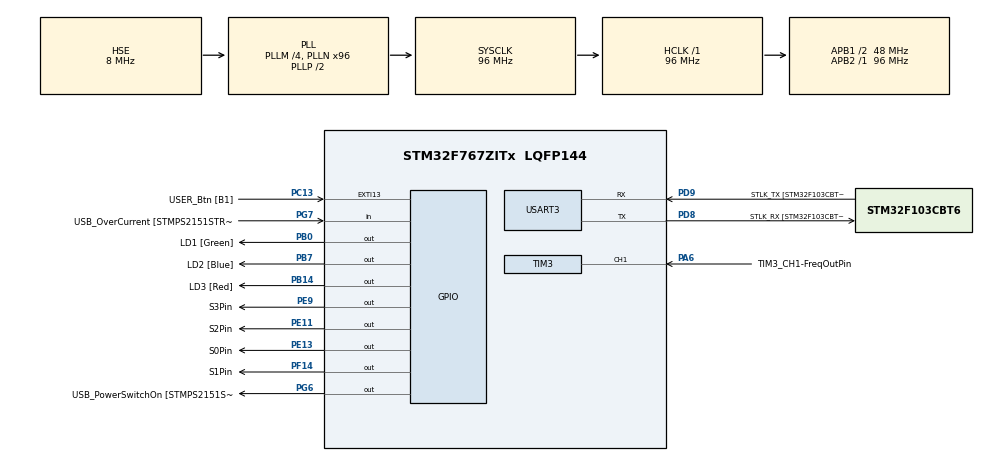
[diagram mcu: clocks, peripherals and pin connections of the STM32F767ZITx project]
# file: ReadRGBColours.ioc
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Mcu.Family=STM32F7
Mcu.Name=STM32F767ZITx
Mcu.Package=LQFP144
NVIC.PriorityGroup=NVIC_PRIORITYGROUP_4
NVIC.TIM3_IRQn=true\:0\:0\:false\:false\:true\:true\:true
PA1.GPIO_Label=RMII_REF_CLK [LAN8742A-CZ-TR_REFCLK0]
PA1.Signal=ETH_REF_CLK
PA10.GPIO_Label=USB_ID
PA10.Signal=USB_OTG_FS_ID
PA11.GPIO_Label=USB_DM
PA11.Signal=USB_OTG_FS_DM
PA12.GPIO_Label=USB_DP
PA12.Signal=USB_OTG_FS_DP
PA13.GPIO_Label=TMS
PA13.Mode=Serial_Wire
PA13.Signal=SYS_JTMS-SWDIO
PA14.GPIO_Label=TCK
PA14.Mode=Serial_Wire
PA14.Signal=SYS_JTCK-SWCLK
PA2.GPIO_Label=RMII_MDIO [LAN8742A-CZ-TR_MDIO]
PA2.Signal=ETH_MDIO
PA6.GPIO_Label=TIM3_CH1-FreqOutPin
PA6.Signal=S_TIM3_CH1
PA7.GPIO_Label=RMII_CRS_DV [LAN8742A-CZ-TR_CRS_DV]
PA7.Signal=ETH_CRS_DV
PA8.GPIO_Label=USB_SOF [TP1]
PA8.Signal=USB_OTG_FS_SOF
PA9.GPIO_Label=USB_VBUS
PA9.Signal=USB_OTG_FS_VBUS
PB0.GPIO_Label=LD1 [Green]
PB0.Signal=GPIO_Output
PB13.GPIO_Label=RMII_TXD1 [LAN8742A-CZ-TR_TXD1]
PB13.Signal=ETH_TXD1
PB14.GPIO_Label=LD3 [Red]
PB14.Signal=GPIO_Output
PB3.GPIO_Label=SWO
PB3.Signal=SYS_JTDO-SWO
PB7.GPIO_Label=LD2 [Blue]
PB7.Signal=GPIO_Output
PC1.GPIO_Label=RMII_MDC [LAN8742A-CZ-TR_MDC]
PC1.Signal=ETH_MDC
PC13.GPIO_Label=USER_Btn [B1]
PC13.Signal=GPXTI13
PC14/OSC32_IN.Mode=LSE-External-Oscillator
PC14/OSC32_IN.Signal=RCC_OSC32_IN
PC15/OSC32_OUT.Mode=LSE-External-Oscillator
PC15/OSC32_OUT.Signal=RCC_OSC32_OUT
PC4.GPIO_Label=RMII_RXD0 [LAN8742A-CZ-TR_RXD0]
PC4.Signal=ETH_RXD0
PC5.GPIO_Label=RMII_RXD1 [LAN8742A-CZ-TR_RXD1]
PC5.Signal=ETH_RXD1
PD8.GPIO_Label=STLK_RX [STM32F103CBT6_PA3]
PD8.Mode=Asynchronous
PD8.Signal=USART3_TX
PD9.GPIO_Label=STLK_TX [STM32F103CBT6_PA2]
PD9.Mode=Asynchronous
PD9.Signal=USART3_RX
PE11.GPIO_Label=S2Pin
PE11.Signal=GPIO_Output
PE13.GPIO_Label=S0Pin
PE13.Signal=GPIO_Output
PE9.GPIO_Label=S3Pin
PE9.Signal=GPIO_Output
PF14.GPIO_Label=S1Pin
PF14.Signal=GPIO_Output
PG11.GPIO_Label=RMII_TX_EN [LAN8742A-CZ-TR_TXEN]
PG11.Signal=ETH_TX_EN
PG13.GPIO_Label=RMII_TXD0 [LAN8742A-CZ-TR_TXD0]
PG13.Signal=ETH_TXD0
PG6.GPIO_Label=USB_PowerSwitchOn [STMPS2151STR_EN]
PG6.Signal=GPIO_Output
PG7.GPIO_Label=USB_OverCurrent [STMPS2151STR_FAULT]
PG7.Signal=GPIO_Input
PH0/OSC_IN.GPIO_Label=MCO [STM32F103CBT6_PA8]
PH0/OSC_IN.Mode=HSE-External-Clock-Source
PH0/OSC_IN.Signal=RCC_OSC_IN
PH1/OSC_OUT.Mode=HSE-External-Clock-Source
PH1/OSC_OUT.Signal=RCC_OSC_OUT
ProjectManager.HeapSize=0x200
ProjectManager.StackSize=0x400
ProjectManager.TargetToolchain=STM32CubeIDE
RCC.48MHZClocksFreq_Value=24000000
RCC.AHBFreq_Value=96000000
RCC.APB1CLKDivider=RCC_HCLK_DIV2
RCC.APB1Freq_Value=48000000
RCC.APB1TimFreq_Value=96000000
RCC.APB2Freq_Value=96000000
RCC.APB2TimFreq_Value=96000000
RCC.CortexFreq_Value=96000000
RCC.HCLKFreq_Value=96000000
RCC.HSE_VALUE=8000000
RCC.HSI_VALUE=16000000
RCC.PLLM=4
RCC.PLLMUL=RCC_PLL_MUL9
RCC.PLLN=96
RCC.PLLQ=4
RCC.PLLSourceVirtual=RCC_PLLSOURCE_HSE
RCC.PRESCALERUSB=RCC_USBCLKSOURCE_PLL_DIV1_5
RCC.SYSCLKFreq_VALUE=96000000
RCC.SYSCLKSource=RCC_SYSCLKSOURCE_PLLCLK
RCC.SYSCLKSourceVirtual=RCC_SYSCLKSOURCE_PLLCLK
RCC.USBFreq_Value=48000000
RCC.VCOOutputFreq_Value=192000000
SH.S_TIM3_CH1.0=TIM3_CH1,Input_Capture1_from_TI1
TIM3.Channel-Input_Capture1_from_TI1=TIM_CHANNEL_1
TIM3.ICPolarity_CH1=TIM_INPUTCHANNELPOLARITY_BOTHEDGE
TIM3.Prescaler=48-1
USART3.VirtualMode-Asynchronous=VM_ASYNC
board=NUCLEO-F767ZI

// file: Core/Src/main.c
/* USER CODE BEGIN Header */
/**
  ******************************************************************************
  * @file           : main.c
  * @brief          : Main program body
  ******************************************************************************
  * @attention
  *
  * <h2><center>&copy; Copyright (c) 2021 STMicroelectronics.
  * All rights reserved.</center></h2>
  *
  * This software component is licensed by ST under BSD 3-Clause license,
  * the "License"; You may not use this file except in compliance with the
  * License. You may obtain a copy of the License at:
  *                        opensource.org/licenses/BSD-3-Clause
  *
  ******************************************************************************
  */
/* USER CODE END Header */
#include "main.h"

/* USER CODE BEGIN Includes */
#include <stdio.h>
#include <string.h>
/* USER CODE END Includes */

/* USER CODE BEGIN PTD */
typedef struct {

	// Colour Pulse Width Measurements
	int redPulseWidth;
	int greenPulseWidth;
	int bluePulseWidth;

	// Variables for final Colour RGB Values
	uint8_t redValue;
	uint8_t greenValue;
	uint8_t blueValue;

	uint8_t doCalibration;

	// Function Pointers
	int (*getRedPulseWidth)(void);
	int (*getGreenPulseWidth)(void);
	int (*getBluePulseWidth)(void);
}TCS320_t;
/* USER CODE END PTD */

TIM_HandleTypeDef htim3;

UART_HandleTypeDef huart3;

/* USER CODE BEGIN PV */
// Calibration constants
static const uint16_t TCS320_RED_MIN = 55;
static const uint16_t TCS320_RED_MAX = 1400;
static const uint16_t TCS320_GREEN_MIN = 10;
static const uint16_t TCS320_GREEN_MAX = 1620;
static const uint16_t TCS320_BLUE_MIN = 10;
static const uint16_t TCS320_BLUE_MAX = 1200;

// Input-Capture variables
static uint32_t captures[2] = {0};
static volatile uint8_t captureDone = 0;
static uint8_t isRisingEdge = 1;
static uint16_t pulseWidth = 0;

// TCS320 Colour Sensor initialization
static TCS320_t colourSensor = {0};
/* USER CODE END PV */

void SystemClock_Config(void);
static void MX_GPIO_Init(void);
static void MX_USART3_UART_Init(void);
static void MX_TIM3_Init(void);
/* USER CODE BEGIN PFP */
void HAL_TIM_IC_CaptureCallback(TIM_HandleTypeDef *htim);

// Prototypes of the TCS320_t function pointers
static int getRedPulseWidth(void);
static int getGreenPulseWidth(void);
static int getBluePulseWidth(void);

// Standard mapping function
static long map(long x, long in_min, long in_max, long out_min, long out_max);

/* USER CODE END PFP */

int main(void)
{
  /* USER CODE BEGIN 1 */

  char msg[64] = {0};
  /* USER CODE END 1 */

  /* MCU Configuration--------------------------------------------------------*/

  /* Reset of all peripherals, Initializes the Flash interface and the Systick. */
  HAL_Init();

  /* Configure the system clock */
  SystemClock_Config();

  /* Initialize all configured peripherals */
  MX_GPIO_Init();
  MX_USART3_UART_Init();
  MX_TIM3_Init();
  /* USER CODE BEGIN 2 */

  sprintf(msg, "RGB Colour Sensor Demo Program\r\n");
  HAL_UART_Transmit(&huart3, (uint8_t*)msg, strlen(msg), HAL_MAX_DELAY);

  // Set Colour Sensors frequency scaling to 20%
  HAL_GPIO_WritePin(GPIOE, S0Pin_Pin, GPIO_PIN_SET);
  HAL_GPIO_WritePin(S1Pin_GPIO_Port, S1Pin_Pin, GPIO_PIN_RESET);

  // Assign function pointers to read RGB Pulse widths
  colourSensor.getRedPulseWidth = getRedPulseWidth;
  colourSensor.getGreenPulseWidth = getGreenPulseWidth;
  colourSensor.getBluePulseWidth = getBluePulseWidth;

  // Do Calibration (1 for yes, 0 for not)
  colourSensor.doCalibration = 0;

  /* USER CODE END 2 */

  /* Infinite loop */
  while (1)
  {

    /* USER CODE BEGIN 3 */

	  // Set sensor to read Red only
	  int r = colourSensor.getRedPulseWidth();
	  HAL_Delay(200);

	  // Set sensor to read Green only
	  int g = colourSensor.getGreenPulseWidth();
	  HAL_Delay(200);

	  // Set sensor to read Blue only
	  int b = colourSensor.getBluePulseWidth();

	  // Send r,g,b values over UART to PC running Classification program.
	  sprintf(msg, "%d,%d,%d\r\n", r, g, b);
	  HAL_UART_Transmit(&huart3, (uint8_t*)msg, strlen(msg), HAL_MAX_DELAY);
	  HAL_Delay(200);
  }
  /* USER CODE END 3 */
}

void SystemClock_Config(void)
{
  RCC_OscInitTypeDef RCC_OscInitStruct = {0};
  RCC_ClkInitTypeDef RCC_ClkInitStruct = {0};
  RCC_PeriphCLKInitTypeDef PeriphClkInitStruct = {0};

  /** Configure LSE Drive Capability
  */
  HAL_PWR_EnableBkUpAccess();
  /** Configure the main internal regulator output voltage
  */
  __HAL_RCC_PWR_CLK_ENABLE();
  __HAL_PWR_VOLTAGESCALING_CONFIG(PWR_REGULATOR_VOLTAGE_SCALE3);
  /** Initializes the RCC Oscillators according to the specified parameters
  * in the RCC_OscInitTypeDef structure.
  */
  RCC_OscInitStruct.OscillatorType = RCC_OSCILLATORTYPE_HSE;
  RCC_OscInitStruct.HSEState = RCC_HSE_BYPASS;
  RCC_OscInitStruct.PLL.PLLState = RCC_PLL_ON;
  RCC_OscInitStruct.PLL.PLLSource = RCC_PLLSOURCE_HSE;
  RCC_OscInitStruct.PLL.PLLM = 4;
  RCC_OscInitStruct.PLL.PLLN = 96;
  RCC_OscInitStruct.PLL.PLLP = RCC_PLLP_DIV2;
  RCC_OscInitStruct.PLL.PLLQ = 4;
  if (HAL_RCC_OscConfig(&RCC_OscInitStruct) != HAL_OK)
  {
    Error_Handler();
  }
  /** Activate the Over-Drive mode
  */
  if (HAL_PWREx_EnableOverDrive() != HAL_OK)
  {
    Error_Handler();
  }
  /** Initializes the CPU, AHB and APB buses clocks
  */
  RCC_ClkInitStruct.ClockType = RCC_CLOCKTYPE_HCLK|RCC_CLOCKTYPE_SYSCLK
                              |RCC_CLOCKTYPE_PCLK1|RCC_CLOCKTYPE_PCLK2;
  RCC_ClkInitStruct.SYSCLKSource = RCC_SYSCLKSOURCE_PLLCLK;
  RCC_ClkInitStruct.AHBCLKDivider = RCC_SYSCLK_DIV1;
  RCC_ClkInitStruct.APB1CLKDivider = RCC_HCLK_DIV2;
  RCC_ClkInitStruct.APB2CLKDivider = RCC_HCLK_DIV1;

  if (HAL_RCC_ClockConfig(&RCC_ClkInitStruct, FLASH_LATENCY_3) != HAL_OK)
  {
    Error_Handler();
  }
  PeriphClkInitStruct.PeriphClockSelection = RCC_PERIPHCLK_USART3;
  PeriphClkInitStruct.Usart3ClockSelection = RCC_USART3CLKSOURCE_PCLK1;
  if (HAL_RCCEx_PeriphCLKConfig(&PeriphClkInitStruct) != HAL_OK)
  {
    Error_Handler();
  }
}

static void MX_TIM3_Init(void)
{

  TIM_MasterConfigTypeDef sMasterConfig = {0};
  TIM_IC_InitTypeDef sConfigIC = {0};

  htim3.Instance = TIM3;
  htim3.Init.Prescaler = 48-1;
  htim3.Init.CounterMode = TIM_COUNTERMODE_UP;
  htim3.Init.Period = 65535;
  htim3.Init.ClockDivision = TIM_CLOCKDIVISION_DIV1;
  htim3.Init.AutoReloadPreload = TIM_AUTORELOAD_PRELOAD_DISABLE;
  if (HAL_TIM_IC_Init(&htim3) != HAL_OK)
  {
    Error_Handler();
  }
  sMasterConfig.MasterOutputTrigger = TIM_TRGO_RESET;
  sMasterConfig.MasterSlaveMode = TIM_MASTERSLAVEMODE_DISABLE;
  if (HAL_TIMEx_MasterConfigSynchronization(&htim3, &sMasterConfig) != HAL_OK)
  {
    Error_Handler();
  }
  sConfigIC.ICPolarity = TIM_INPUTCHANNELPOLARITY_BOTHEDGE;
  sConfigIC.ICSelection = TIM_ICSELECTION_DIRECTTI;
  sConfigIC.ICPrescaler = TIM_ICPSC_DIV1;
  sConfigIC.ICFilter = 0;
  if (HAL_TIM_IC_ConfigChannel(&htim3, &sConfigIC, TIM_CHANNEL_1) != HAL_OK)
  {
    Error_Handler();
  }

}

static void MX_USART3_UART_Init(void)
{

  huart3.Instance = USART3;
  huart3.Init.BaudRate = 115200;
  huart3.Init.WordLength = UART_WORDLENGTH_8B;
  huart3.Init.StopBits = UART_STOPBITS_1;
  huart3.Init.Parity = UART_PARITY_NONE;
  huart3.Init.Mode = UART_MODE_TX_RX;
  huart3.Init.HwFlowCtl = UART_HWCONTROL_NONE;
  huart3.Init.OverSampling = UART_OVERSAMPLING_16;
  huart3.Init.OneBitSampling = UART_ONE_BIT_SAMPLE_DISABLE;
  huart3.AdvancedInit.AdvFeatureInit = UART_ADVFEATURE_NO_INIT;
  if (HAL_UART_Init(&huart3) != HAL_OK)
  {
    Error_Handler();
  }

}

static void MX_GPIO_Init(void)
{
  GPIO_InitTypeDef GPIO_InitStruct = {0};

  /* GPIO Ports Clock Enable */
  __HAL_RCC_GPIOC_CLK_ENABLE();
  __HAL_RCC_GPIOH_CLK_ENABLE();
  __HAL_RCC_GPIOA_CLK_ENABLE();
  __HAL_RCC_GPIOB_CLK_ENABLE();
  __HAL_RCC_GPIOF_CLK_ENABLE();
  __HAL_RCC_GPIOE_CLK_ENABLE();
  __HAL_RCC_GPIOD_CLK_ENABLE();
  __HAL_RCC_GPIOG_CLK_ENABLE();

  /*Configure GPIO pin Output Level */
  HAL_GPIO_WritePin(GPIOB, LD1_Pin|LD3_Pin|LD2_Pin, GPIO_PIN_RESET);

  /*Configure GPIO pin Output Level */
  HAL_GPIO_WritePin(S1Pin_GPIO_Port, S1Pin_Pin, GPIO_PIN_RESET);

  /*Configure GPIO pin Output Level */
  HAL_GPIO_WritePin(GPIOE, S3Pin_Pin|S2Pin_Pin|S0Pin_Pin, GPIO_PIN_RESET);

  /*Configure GPIO pin Output Level */
  HAL_GPIO_WritePin(USB_PowerSwitchOn_GPIO_Port, USB_PowerSwitchOn_Pin, GPIO_PIN_RESET);

  /*Configure GPIO pin : USER_Btn_Pin */
  GPIO_InitStruct.Pin = USER_Btn_Pin;
  GPIO_InitStruct.Mode = GPIO_MODE_IT_RISING;
  GPIO_InitStruct.Pull = GPIO_NOPULL;
  HAL_GPIO_Init(USER_Btn_GPIO_Port, &GPIO_InitStruct);

  /*Configure GPIO pins : RMII_MDC_Pin RMII_RXD0_Pin RMII_RXD1_Pin */
  GPIO_InitStruct.Pin = RMII_MDC_Pin|RMII_RXD0_Pin|RMII_RXD1_Pin;
  GPIO_InitStruct.Mode = GPIO_MODE_AF_PP;
  GPIO_InitStruct.Pull = GPIO_NOPULL;
  GPIO_InitStruct.Speed = GPIO_SPEED_FREQ_VERY_HIGH;
  GPIO_InitStruct.Alternate = GPIO_AF11_ETH;
  HAL_GPIO_Init(GPIOC, &GPIO_InitStruct);

  /*Configure GPIO pins : RMII_REF_CLK_Pin RMII_MDIO_Pin RMII_CRS_DV_Pin */
  GPIO_InitStruct.Pin = RMII_REF_CLK_Pin|RMII_MDIO_Pin|RMII_CRS_DV_Pin;
  GPIO_InitStruct.Mode = GPIO_MODE_AF_PP;
  GPIO_InitStruct.Pull = GPIO_NOPULL;
  GPIO_InitStruct.Speed = GPIO_SPEED_FREQ_VERY_HIGH;
  GPIO_InitStruct.Alternate = GPIO_AF11_ETH;
  HAL_GPIO_Init(GPIOA, &GPIO_InitStruct);

  /*Configure GPIO pins : LD1_Pin LD3_Pin LD2_Pin */
  GPIO_InitStruct.Pin = LD1_Pin|LD3_Pin|LD2_Pin;
  GPIO_InitStruct.Mode = GPIO_MODE_OUTPUT_PP;
  GPIO_InitStruct.Pull = GPIO_NOPULL;
  GPIO_InitStruct.Speed = GPIO_SPEED_FREQ_LOW;
  HAL_GPIO_Init(GPIOB, &GPIO_InitStruct);

  /*Configure GPIO pin : S1Pin_Pin */
  GPIO_InitStruct.Pin = S1Pin_Pin;
  GPIO_InitStruct.Mode = GPIO_MODE_OUTPUT_PP;
  GPIO_InitStruct.Pull = GPIO_NOPULL;
  GPIO_InitStruct.Speed = GPIO_SPEED_FREQ_LOW;
  HAL_GPIO_Init(S1Pin_GPIO_Port, &GPIO_InitStruct);

  /*Configure GPIO pins : S3Pin_Pin S2Pin_Pin S0Pin_Pin */
  GPIO_InitStruct.Pin = S3Pin_Pin|S2Pin_Pin|S0Pin_Pin;
  GPIO_InitStruct.Mode = GPIO_MODE_OUTPUT_PP;
  GPIO_InitStruct.Pull = GPIO_NOPULL;
  GPIO_InitStruct.Speed = GPIO_SPEED_FREQ_LOW;
  HAL_GPIO_Init(GPIOE, &GPIO_InitStruct);

  /*Configure GPIO pin : RMII_TXD1_Pin */
  GPIO_InitStruct.Pin = RMII_TXD1_Pin;
  GPIO_InitStruct.Mode = GPIO_MODE_AF_PP;
  GPIO_InitStruct.Pull = GPIO_NOPULL;
  GPIO_InitStruct.Speed = GPIO_SPEED_FREQ_VERY_HIGH;
  GPIO_InitStruct.Alternate = GPIO_AF11_ETH;
  HAL_GPIO_Init(RMII_TXD1_GPIO_Port, &GPIO_InitStruct);

  /*Configure GPIO pin : USB_PowerSwitchOn_Pin */
  GPIO_InitStruct.Pin = USB_PowerSwitchOn_Pin;
  GPIO_InitStruct.Mode = GPIO_MODE_OUTPUT_PP;
  GPIO_InitStruct.Pull = GPIO_NOPULL;
  GPIO_InitStruct.Speed = GPIO_SPEED_FREQ_LOW;
  HAL_GPIO_Init(USB_PowerSwitchOn_GPIO_Port, &GPIO_InitStruct);

  /*Configure GPIO pin : USB_OverCurrent_Pin */
  GPIO_InitStruct.Pin = USB_OverCurrent_Pin;
  GPIO_InitStruct.Mode = GPIO_MODE_INPUT;
  GPIO_InitStruct.Pull = GPIO_NOPULL;
  HAL_GPIO_Init(USB_OverCurrent_GPIO_Port, &GPIO_InitStruct);

  /*Configure GPIO pins : USB_SOF_Pin USB_ID_Pin USB_DM_Pin USB_DP_Pin */
  GPIO_InitStruct.Pin = USB_SOF_Pin|USB_ID_Pin|USB_DM_Pin|USB_DP_Pin;
  GPIO_InitStruct.Mode = GPIO_MODE_AF_PP;
  GPIO_InitStruct.Pull = GPIO_NOPULL;
  GPIO_InitStruct.Speed = GPIO_SPEED_FREQ_VERY_HIGH;
  GPIO_InitStruct.Alternate = GPIO_AF10_OTG_FS;
  HAL_GPIO_Init(GPIOA, &GPIO_InitStruct);

  /*Configure GPIO pin : USB_VBUS_Pin */
  GPIO_InitStruct.Pin = USB_VBUS_Pin;
  GPIO_InitStruct.Mode = GPIO_MODE_INPUT;
  GPIO_InitStruct.Pull = GPIO_NOPULL;
  HAL_GPIO_Init(USB_VBUS_GPIO_Port, &GPIO_InitStruct);

  /*Configure GPIO pins : RMII_TX_EN_Pin RMII_TXD0_Pin */
  GPIO_InitStruct.Pin = RMII_TX_EN_Pin|RMII_TXD0_Pin;
  GPIO_InitStruct.Mode = GPIO_MODE_AF_PP;
  GPIO_InitStruct.Pull = GPIO_NOPULL;
  GPIO_InitStruct.Speed = GPIO_SPEED_FREQ_VERY_HIGH;
  GPIO_InitStruct.Alternate = GPIO_AF11_ETH;
  HAL_GPIO_Init(GPIOG, &GPIO_InitStruct);

}

/* USER CODE BEGIN 4 */
static long map(long x, long in_min, long in_max, long out_min, long out_max){

	in_max += 1;
	out_max += 1;

	long ret = (x - in_min) * (out_max - out_min) / (in_max - in_min) + out_min;

	if((ret < out_min) && (out_min > out_max)){
		return ret;
	}
	else if((ret < out_min) && (out_min < out_max)){
		return out_min;
	}
	else if((ret > out_max) && (out_min > out_max)){
		return ret;
	}
	else if((ret > out_max) && (out_min < out_max)){
		return out_max;
	}
	else{
		return ret;
	}

}

static int getRedPulseWidth(void){

	// Set Sensor to read Red only
	HAL_GPIO_WritePin(S2Pin_GPIO_Port, S2Pin_Pin, GPIO_PIN_RESET);
	HAL_GPIO_WritePin(S3Pin_GPIO_Port, S3Pin_Pin, GPIO_PIN_RESET);

	const int averagePoints = 25;
	int avg = 0;
	char data[32] = {0};

	for(int i = 0; i < averagePoints; ++i){

		// Start the input capture in interrupt mode
		HAL_TIM_IC_Start_IT(&htim3, TIM_CHANNEL_1);

		while(!captureDone){}

		colourSensor.redPulseWidth = pulseWidth;

		colourSensor.redValue = map(colourSensor.redPulseWidth, TCS320_RED_MIN,
				TCS320_RED_MAX, 255, 0);

		if(colourSensor.doCalibration){
			sprintf(data, "rw: %d, rv: %d\r\n", colourSensor.redPulseWidth, colourSensor.redValue);
			HAL_UART_Transmit(&huart3, (uint8_t*)data, strlen(data), HAL_MAX_DELAY);
		}
		avg += colourSensor.redValue;

		captureDone = 0;

		memset(data, '\0', sizeof(data));
	}

	return (int)(avg/averagePoints);
}

static int getGreenPulseWidth(void){

	// Set Sensor to read Green only
	HAL_GPIO_WritePin(S2Pin_GPIO_Port, S2Pin_Pin, GPIO_PIN_SET);
	HAL_GPIO_WritePin(S3Pin_GPIO_Port, S3Pin_Pin, GPIO_PIN_SET);

	char data[32] = {0};
	const int averagePoints = 25;
	int avg = 0;

	for(int i = 0; i < averagePoints; ++i){

		// Start the input capture in interrupt mode
		HAL_TIM_IC_Start_IT(&htim3, TIM_CHANNEL_1);

		while(!captureDone){}

		colourSensor.greenPulseWidth = pulseWidth;

		colourSensor.greenValue = map(colourSensor.greenPulseWidth, TCS320_GREEN_MIN,
				TCS320_GREEN_MAX, 255, 0);

		if(colourSensor.doCalibration){
			sprintf(data, "gw: %d, gv: %d\r\n", colourSensor.greenPulseWidth, colourSensor.greenValue);
			HAL_UART_Transmit(&huart3, (uint8_t*)data, strlen(data), HAL_MAX_DELAY);
		}
		avg += colourSensor.greenValue;

		captureDone = 0;

		memset(data, '\0', sizeof(data));
	}

	return (int)(avg/averagePoints);
}

static int getBluePulseWidth(void){
	// Set Sensor to read Blue only
	HAL_GPIO_WritePin(S2Pin_GPIO_Port, S2Pin_Pin, GPIO_PIN_RESET);
	HAL_GPIO_WritePin(S3Pin_GPIO_Port, S3Pin_Pin, GPIO_PIN_SET);

	char data[32] = {0};
	const int averagePoints = 25;
	int avg = 0;

	for(int i = 0; i < averagePoints; ++i){

		// Start the input capture in interrupt mode
		HAL_TIM_IC_Start_IT(&htim3, TIM_CHANNEL_1);

		while(!captureDone){}

		colourSensor.bluePulseWidth = pulseWidth;

		colourSensor.blueValue = map(colourSensor.bluePulseWidth, TCS320_BLUE_MIN,
				TCS320_BLUE_MAX, 255, 0);

		if(colourSensor.doCalibration){
			sprintf(data, "bw: %d, bv: %d\r\n", colourSensor.bluePulseWidth, colourSensor.blueValue);
			HAL_UART_Transmit(&huart3, (uint8_t*)data, strlen(data), HAL_MAX_DELAY);
		}
		avg += colourSensor.blueValue;
		captureDone = 0;

		memset(data, '\0', sizeof(data));
	}

	return (int)(avg/averagePoints);
}

void HAL_TIM_IC_CaptureCallback(TIM_HandleTypeDef *htim){

	if(htim->Channel == HAL_TIM_ACTIVE_CHANNEL_1){

		if(isRisingEdge){ // rising edge
			captures[0] = HAL_TIM_ReadCapturedValue(htim, TIM_CHANNEL_1);
			isRisingEdge = 0;
		}
		else{ // falling edge
			captures[1] = HAL_TIM_ReadCapturedValue(htim, TIM_CHANNEL_1);
			isRisingEdge = 1;

			// reset counter
			__HAL_TIM_SET_COUNTER(htim, 0);

			if(captures[1] >= captures[0]){
				pulseWidth = captures[1] - captures[0];
			}
			else{
				pulseWidth = (htim->Instance->ARR - captures[0]) + captures[1];
			}
			captureDone = 1;

			// Stop the input capture in interrupt mode
			HAL_TIM_IC_Stop_IT(&htim3, TIM_CHANNEL_1);

		}
	}
}
/* USER CODE END 4 */

void Error_Handler(void)
{
  __disable_irq();
  while (1)
  {
  }
}

/************************ (C) COPYRIGHT STMicroelectronics *****END OF FILE****/
